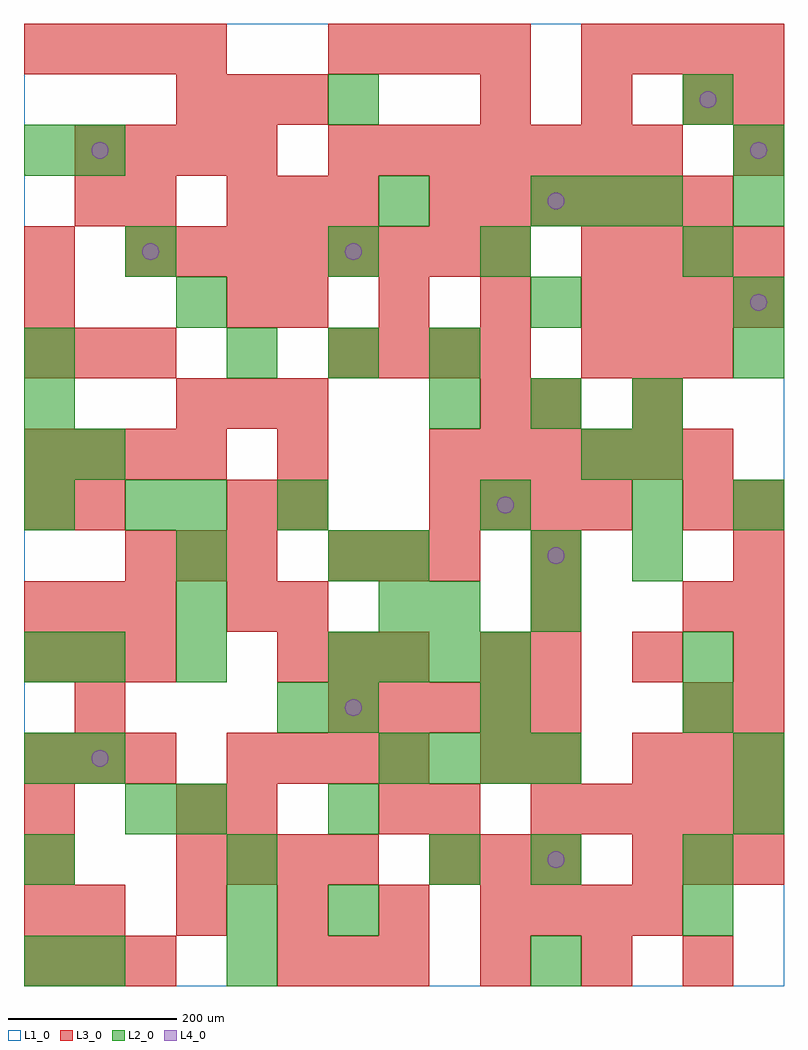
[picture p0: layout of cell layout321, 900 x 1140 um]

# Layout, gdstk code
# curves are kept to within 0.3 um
import gdstk
lib = gdstk.Library(unit=1e-6, precision=1e-09)
def R(c, l, rs):  # rectangles x0, y0, x1, y1
    for r in rs: c.add(gdstk.rectangle(r[:2], r[2:], *l))
def A(c, l, x, y, w, h, nx, ny, dx, dy):  # array of equal rectangles
    R(c, l, [(x+i*dx, y+j*dy, x+i*dx+w, y+j*dy+h) for i in range(nx) for j in range(ny)])
def P(c, l, *ps):  # polygons
    for p in ps: c.add(gdstk.Polygon(p, *l))
L1_0 = (1, 0)
L2_0 = (2, 0)
L3_0 = (3, 0)
L4_0 = (4, 0)

layout321 = lib.new_cell('layout321')
R(layout321, L1_0, [(0,0,900,1140)])
A(layout321, L2_0, 360, 60, 60, 60, 1, 3, 0, 120)
A(layout321, L2_0, 0, 120, 60, 60, 3, 1, 240, 0)
A(layout321, L2_0, 420, 240, 60, 60, 4, 1, 60, 0)
A(layout321, L2_0, 180, 360, 60, 60, 1, 4, 0, 60)
A(layout321, L2_0, 360, 360, 60, 60, 4, 1, 60, 0)
A(layout321, L2_0, 720, 480, 60, 60, 1, 3, 0, 60)
A(layout321, L2_0, 0, 540, 60, 60, 1, 4, 0, 60)
A(layout321, L2_0, 480, 660, 60, 60, 3, 1, 120, 0)
A(layout321, L2_0, 240, 720, 60, 60, 3, 1, 120, 0)
A(layout321, L2_0, 600, 900, 60, 60, 3, 1, 60, 0)
R(layout321, L2_0, [(0,0,60,60), (60,0,120,60), (240,0,300,60), (600,0,660,60), (240,60,300,120), (780,60,840,120), (600,120,660,180), (780,120,840,180), (120,180,180,240), (180,180,240,240), (840,180,900,240), (0,240,60,300), (60,240,120,300), (840,240,900,300), (300,300,360,360), (540,300,600,360), (780,300,840,360), (0,360,60,420), (60,360,120,420), (780,360,840,420), (420,420,480,480), (480,420,540,480), (600,420,660,480), (360,480,420,540), (420,480,480,540), (600,480,660,540), (120,540,180,600), (300,540,360,600), (540,540,600,600), (840,540,900,600), (60,600,120,660), (660,600,720,660), (840,720,900,780), (180,780,240,840), (600,780,660,840), (840,780,900,840), (120,840,180,900), (360,840,420,900), (540,840,600,900), (780,840,840,900), (420,900,480,960), (840,900,900,960), (0,960,60,1020), (60,960,120,1020), (840,960,900,1020), (360,1020,420,1080), (780,1020,840,1080)])
A(layout321, L3_0, 0, 0, 60, 60, 3, 2, 60, 240)
A(layout321, L3_0, 300, 0, 60, 60, 3, 2, 60, 360)
A(layout321, L3_0, 540, 0, 60, 60, 3, 2, 120, 1020)
A(layout321, L3_0, 0, 60, 60, 60, 1, 3, 0, 60)
A(layout321, L3_0, 60, 60, 60, 60, 5, 1, 120, 0)
A(layout321, L3_0, 600, 60, 60, 60, 3, 1, 60, 0)
A(layout321, L3_0, 180, 120, 60, 60, 4, 1, 60, 0)
A(layout321, L3_0, 480, 120, 60, 60, 3, 1, 60, 0)
A(layout321, L3_0, 720, 120, 60, 60, 3, 2, 60, 120)
A(layout321, L3_0, 600, 180, 60, 60, 5, 1, 60, 0)
A(layout321, L3_0, 240, 240, 60, 60, 4, 1, 60, 0)
A(layout321, L3_0, 360, 300, 60, 60, 5, 1, 60, 0)
A(layout321, L3_0, 780, 300, 60, 60, 1, 3, 0, 120)
A(layout321, L3_0, 0, 360, 60, 60, 3, 2, 60, 60)
A(layout321, L3_0, 600, 360, 60, 60, 3, 1, 120, 0)
A(layout321, L3_0, 840, 420, 60, 60, 1, 3, 0, 60)
A(layout321, L3_0, 120, 480, 60, 60, 3, 1, 60, 0)
A(layout321, L3_0, 360, 480, 60, 60, 3, 1, 60, 0)
A(layout321, L3_0, 480, 540, 60, 60, 4, 1, 60, 0)
A(layout321, L3_0, 0, 600, 60, 60, 4, 2, 60, 480)
A(layout321, L3_0, 480, 600, 60, 60, 6, 2, 60, 300)
A(layout321, L3_0, 180, 660, 60, 60, 3, 2, 60, 360)
A(layout321, L3_0, 0, 720, 60, 60, 3, 1, 60, 0)
A(layout321, L3_0, 360, 720, 60, 60, 4, 2, 60, 360)
A(layout321, L3_0, 660, 720, 60, 60, 3, 1, 60, 0)
A(layout321, L3_0, 300, 780, 60, 60, 4, 1, 120, 0)
A(layout321, L3_0, 720, 780, 60, 60, 3, 1, 60, 0)
A(layout321, L3_0, 120, 840, 60, 60, 8, 1, 60, 0)
A(layout321, L3_0, 660, 840, 60, 60, 4, 2, 60, 240)
A(layout321, L3_0, 240, 900, 60, 60, 3, 1, 60, 0)
A(layout321, L3_0, 60, 960, 60, 60, 4, 1, 60, 0)
A(layout321, L3_0, 360, 960, 60, 60, 7, 1, 60, 0)
R(layout321, L3_0, [(180,180,240,240), (240,180,300,240), (420,180,480,240), (480,180,540,240), (540,240,600,300), (600,240,660,300), (60,300,120,360), (840,300,900,360), (540,360,600,420), (240,420,300,480), (300,420,360,480), (600,420,660,480), (600,480,660,540), (0,540,60,600), (60,540,120,600), (240,540,300,600), (300,540,360,600), (300,600,360,660), (540,660,600,720), (600,660,660,720), (720,660,780,720), (0,780,60,840), (240,780,300,840), (0,840,60,900), (60,900,120,960), (120,900,180,960), (840,960,900,1020), (840,1020,900,1080)])
P(layout321, L4_0, [(100,270),(99.239,273.827),(97.071,277.071),(93.827,279.239),(90,280),(86.173,279.239),(82.929,277.071),(80.761,273.827),(80,270),(80.761,266.173),(82.929,262.929),(86.173,260.761),(90,260),(93.827,260.761),(97.071,262.929),(99.239,266.173)],
  [(100,990),(99.239,993.827),(97.071,997.071),(93.827,999.239),(90,1000),(86.173,999.239),(82.929,997.071),(80.761,993.827),(80,990),(80.761,986.173),(82.929,982.929),(86.173,980.761),(90,980),(93.827,980.761),(97.071,982.929),(99.239,986.173)],
  [(160,870),(159.239,873.827),(157.071,877.071),(153.827,879.239),(150,880),(146.173,879.239),(142.929,877.071),(140.761,873.827),(140,870),(140.761,866.173),(142.929,862.929),(146.173,860.761),(150,860),(153.827,860.761),(157.071,862.929),(159.239,866.173)],
  [(400,330),(399.239,333.827),(397.071,337.071),(393.827,339.239),(390,340),(386.173,339.239),(382.929,337.071),(380.761,333.827),(380,330),(380.761,326.173),(382.929,322.929),(386.173,320.761),(390,320),(393.827,320.761),(397.071,322.929),(399.239,326.173)],
  [(400,870),(399.239,873.827),(397.071,877.071),(393.827,879.239),(390,880),(386.173,879.239),(382.929,877.071),(380.761,873.827),(380,870),(380.761,866.173),(382.929,862.929),(386.173,860.761),(390,860),(393.827,860.761),(397.071,862.929),(399.239,866.173)],
  [(580,570),(579.239,573.827),(577.071,577.071),(573.827,579.239),(570,580),(566.173,579.239),(562.929,577.071),(560.761,573.827),(560,570),(560.761,566.173),(562.929,562.929),(566.173,560.761),(570,560),(573.827,560.761),(577.071,562.929),(579.239,566.173)],
  [(640,150),(639.239,153.827),(637.071,157.071),(633.827,159.239),(630,160),(626.173,159.239),(622.929,157.071),(620.761,153.827),(620,150),(620.761,146.173),(622.929,142.929),(626.173,140.761),(630,140),(633.827,140.761),(637.071,142.929),(639.239,146.173)],
  [(640,510),(639.239,513.827),(637.071,517.071),(633.827,519.239),(630,520),(626.173,519.239),(622.929,517.071),(620.761,513.827),(620,510),(620.761,506.173),(622.929,502.929),(626.173,500.761),(630,500),(633.827,500.761),(637.071,502.929),(639.239,506.173)],
  [(640,930),(639.239,933.827),(637.071,937.071),(633.827,939.239),(630,940),(626.173,939.239),(622.929,937.071),(620.761,933.827),(620,930),(620.761,926.173),(622.929,922.929),(626.173,920.761),(630,920),(633.827,920.761),(637.071,922.929),(639.239,926.173)],
  [(820,1050),(819.239,1053.827),(817.071,1057.071),(813.827,1059.239),(810,1060),(806.173,1059.239),(802.929,1057.071),(800.761,1053.827),(800,1050),(800.761,1046.173),(802.929,1042.929),(806.173,1040.761),(810,1040),(813.827,1040.761),(817.071,1042.929),(819.239,1046.173)],
  [(880,810),(879.239,813.827),(877.071,817.071),(873.827,819.239),(870,820),(866.173,819.239),(862.929,817.071),(860.761,813.827),(860,810),(860.761,806.173),(862.929,802.929),(866.173,800.761),(870,800),(873.827,800.761),(877.071,802.929),(879.239,806.173)],
  [(880,990),(879.239,993.827),(877.071,997.071),(873.827,999.239),(870,1000),(866.173,999.239),(862.929,997.071),(860.761,993.827),(860,990),(860.761,986.173),(862.929,982.929),(866.173,980.761),(870,980),(873.827,980.761),(877.071,982.929),(879.239,986.173)])

lib.write_gds('layout321.gds')
